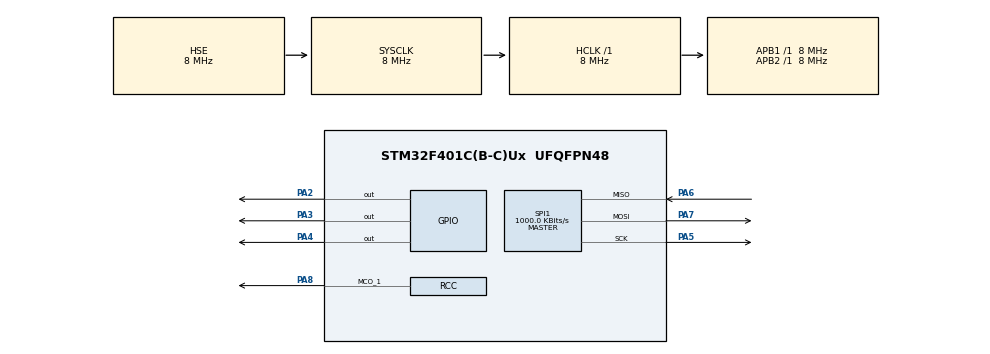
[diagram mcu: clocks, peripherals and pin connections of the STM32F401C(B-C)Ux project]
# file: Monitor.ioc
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Mcu.Family=STM32F4
Mcu.Name=STM32F401C(B-C)Ux
Mcu.Package=UFQFPN48
NVIC.PriorityGroup=NVIC_PRIORITYGROUP_4
PA13.Mode=Serial_Wire
PA13.Signal=SYS_JTMS-SWDIO
PA14.Mode=Serial_Wire
PA14.Signal=SYS_JTCK-SWCLK
PA2.Signal=GPIO_Output
PA3.Signal=GPIO_Output
PA4.Signal=GPIO_Output
PA5.Mode=Full_Duplex_Master
PA5.Signal=SPI1_SCK
PA6.Mode=Full_Duplex_Master
PA6.Signal=SPI1_MISO
PA7.Mode=Full_Duplex_Master
PA7.Signal=SPI1_MOSI
PA8.Mode=Clock-out-1
PA8.Signal=RCC_MCO_1
PH0\ -\ OSC_IN.Mode=HSE-External-Oscillator
PH0\ -\ OSC_IN.Signal=RCC_OSC_IN
PH1\ -\ OSC_OUT.Mode=HSE-External-Oscillator
PH1\ -\ OSC_OUT.Signal=RCC_OSC_OUT
ProjectManager.HeapSize=0x200
ProjectManager.StackSize=0x400
ProjectManager.TargetToolchain=Makefile
RCC.48MHZClocksFreq_Value=48000000
RCC.AHBFreq_Value=8000000
RCC.APB1Freq_Value=8000000
RCC.APB1TimCLKDivider=1
RCC.APB1TimFreq_Value=8000000
RCC.APB2Freq_Value=8000000
RCC.APB2TimFreq_Value=8000000
RCC.CortexFreq_Value=8000000
RCC.HCLKFreq_Value=8000000
RCC.HSE_VALUE=8000000
RCC.HSI_VALUE=16000000
RCC.LSE_VALUE=32768
RCC.SYSCLKFreq_VALUE=8000000
RCC.SYSCLKSource=RCC_SYSCLKSOURCE_HSE
RCC.VCOOutputFreq_Value=192000000
SPI1.BaudRatePrescaler=SPI_BAUDRATEPRESCALER_8
SPI1.CalculateBaudRate=1000.0 KBits/s
SPI1.Direction=SPI_DIRECTION_2LINES
SPI1.Mode=SPI_MODE_MASTER
SPI1.VirtualType=VM_MASTER
board=custom

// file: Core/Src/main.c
/* USER CODE BEGIN Header */
/**
  ******************************************************************************
  * @file           : main.c
  * @brief          : Main program body
  ******************************************************************************
  * @attention
  *
  * Copyright (c) 2025 STMicroelectronics.
  * All rights reserved.
  *
  * This software is licensed under terms that can be found in the LICENSE file
  * in the root directory of this software component.
  * If no LICENSE file comes with this software, it is provided AS-IS.
  *
  ******************************************************************************
  */
/* USER CODE END Header */
#include "main.h"
#include "spi.h"
#include "gpio.h"
#include <stdio.h>
#include <string.h>

/* USER CODE BEGIN PD */
#define RST_PIN GPIO_PIN_2
#define DC_PIN GPIO_PIN_3
#define CS_PIN GPIO_PIN_4
#define RST_PORT GPIOA
#define DC_PORT GPIOA
#define CS_PORT GPIOA

// Команды для SSD1309
#define SSD1309_SETCONTRAST 0x81
#define SSD1309_DISPLAYALLON_RESUME 0xA4
#define SSD1309_DISPLAYON 0xAF
#define SSD1309_DISPLAYOFF 0xAE
#define SSD1309_NORMALDISPLAY 0xA6
#define SSD1309_SETSTARTLINE 0x40
#define SSD1309_MEMORYMODE 0x20
#define SSD1309_COLUMNADDR 0x21
#define SSD1309_PAGEADDR 0x22
#define SSD1309_SEGREMAP 0xA0  // Нормальная ориентация
#define SSD1309_COMSCANINC 0xC0  // Нормальная ориентация
#define SSD1309_SETCOMPINS 0xDA
#define SSD1309_SETVCOMDETECT 0xDB
#define SSD1309_SETMULTIPLEX 0xA8
#define SSD1309_SETDISPLAYOFFSET 0xD3
#define SSD1309_SETDISPLAYCLOCKDIV 0xD5
#define SSD1309_SETPRECHARGE 0xD9
/* USER CODE END PD */

/* USER CODE BEGIN PV */
// Массив шрифта
const unsigned char font_regular[94][6] =
{
    {0x00, 0x60, 0x60, 0x60, 0x00, 0x00},   // sp
    {0x00, 0x00, 0x00, 0x2f, 0x00, 0x00},   // !
    {0x00, 0x00, 0x07, 0x00, 0x07, 0x00},   // "
    {0x00, 0x14, 0x7f, 0x14, 0x7f, 0x14},   // #
    {0x00, 0x24, 0x2a, 0x7f, 0x2a, 0x12},   // $
    {0x00, 0x62, 0x64, 0x08, 0x13, 0x23},   // %
    {0x00, 0x36, 0x49, 0x55, 0x22, 0x50},   // &
    {0x00, 0x00, 0x05, 0x03, 0x00, 0x00},   // '
    {0x00, 0x00, 0x1c, 0x22, 0x41, 0x00},   // (
    {0x00, 0x00, 0x41, 0x22, 0x1c, 0x00},   // )
    {0x00, 0x14, 0x08, 0x3E, 0x08, 0x14},   // *
    {0x00, 0x08, 0x08, 0x3E, 0x08, 0x08},   // +
    {0x00, 0x00, 0x00, 0xA0, 0x60, 0x00},   // ,
    {0x00, 0x08, 0x08, 0x08, 0x08, 0x08},   // -
    {0x00, 0x00, 0x60, 0x60, 0x00, 0x00},   // .
    {0x00, 0x20, 0x10, 0x08, 0x04, 0x02},   // /
    {0x00, 0x3E, 0x51, 0x49, 0x45, 0x3E},   // 0
    {0x00, 0x00, 0x42, 0x7F, 0x40, 0x00},   // 1
    {0x00, 0x42, 0x61, 0x51, 0x49, 0x46},   // 2
    {0x00, 0x21, 0x41, 0x45, 0x4B, 0x31},   // 3
    {0x00, 0x18, 0x14, 0x12, 0x7F, 0x10},   // 4
    {0x00, 0x27, 0x45, 0x45, 0x45, 0x39},   // 5
    {0x00, 0x3C, 0x4A, 0x49, 0x49, 0x30},   // 6
    {0x00, 0x01, 0x71, 0x09, 0x05, 0x03},   // 7
    {0x00, 0x36, 0x49, 0x49, 0x49, 0x36},   // 8
    {0x00, 0x06, 0x49, 0x49, 0x29, 0x1E},   // 9
    {0x00, 0x00, 0x36, 0x36, 0x00, 0x00},   // :
    {0x00, 0x00, 0x56, 0x36, 0x00, 0x00},   // ;
    {0x00, 0x08, 0x14, 0x22, 0x41, 0x00},   // <
    {0x00, 0x14, 0x14, 0x14, 0x14, 0x14},   // =
    {0x00, 0x00, 0x41, 0x22, 0x14, 0x08},   // >
    {0x00, 0x02, 0x01, 0x51, 0x09, 0x06},   // ?
    {0x00, 0x32, 0x49, 0x59, 0x51, 0x3E},   // @
    {0x00, 0x7C, 0x12, 0x11, 0x12, 0x7C},   // A
    {0x00, 0x7F, 0x49, 0x49, 0x49, 0x36},   // B
    {0x00, 0x3E, 0x41, 0x41, 0x41, 0x22},   // C
    {0x00, 0x7F, 0x41, 0x41, 0x22, 0x1C},   // D
    {0x00, 0x7F, 0x49, 0x49, 0x49, 0x41},   // E
    {0x00, 0x7F, 0x09, 0x09, 0x09, 0x01},   // F
    {0x00, 0x3E, 0x41, 0x49, 0x49, 0x7A},   // G
    {0x00, 0x7F, 0x08, 0x08, 0x08, 0x7F},   // H
    {0x00, 0x00, 0x41, 0x7F, 0x41, 0x00},   // I
    {0x00, 0x20, 0x40, 0x41, 0x3F, 0x01},   // J
    {0x00, 0x7F, 0x08, 0x14, 0x22, 0x41},   // K
    {0x00, 0x7F, 0x40, 0x40, 0x40, 0x40},   // L
    {0x00, 0x7F, 0x02, 0x0C, 0x02, 0x7F},   // M
    {0x00, 0x7F, 0x04, 0x08, 0x10, 0x7F},   // N
    {0x00, 0x3E, 0x41, 0x41, 0x41, 0x3E},   // O
    {0x00, 0x7F, 0x09, 0x09, 0x09, 0x06},   // P
    {0x00, 0x3E, 0x41, 0x51, 0x21, 0x5E},   // Q
    {0x00, 0x7F, 0x09, 0x19, 0x29, 0x46},   // R
    {0x00, 0x46, 0x49, 0x49, 0x49, 0x31},   // S
    {0x00, 0x01, 0x01, 0x7F, 0x01, 0x01},   // T
    {0x00, 0x3F, 0x40, 0x40, 0x40, 0x3F},   // U
    {0x00, 0x1F, 0x20, 0x40, 0x20, 0x1F},   // V
    {0x00, 0x3F, 0x40, 0x38, 0x40, 0x3F},   // W
    {0x00, 0x63, 0x14, 0x08, 0x14, 0x63},   // X
    {0x00, 0x07, 0x08, 0x70, 0x08, 0x07},   // Y
    {0x00, 0x61, 0x51, 0x49, 0x45, 0x43},   // Z
    {0x00, 0x00, 0x7F, 0x41, 0x41, 0x00},   // [
    {0x00, 0x02, 0x04, 0x08, 0x10, 0x20},   // \
    {0x00, 0x00, 0x06, 0x09, 0x09, 0x06},   // ]
    {0x00, 0x00, 0x06, 0x09, 0x09, 0x06},   // ^ Градус )
    {0x00, 0x40, 0x40, 0x40, 0x40, 0x40},   // _
    {0x00, 0x00, 0x01, 0x02, 0x04, 0x00},   // '
    {0x00, 0x20, 0x54, 0x54, 0x54, 0x78},   // a
    {0x00, 0x7F, 0x48, 0x44, 0x44, 0x38},   // b
    {0x00, 0x38, 0x44, 0x44, 0x44, 0x20},   // c
    {0x00, 0x38, 0x44, 0x44, 0x48, 0x7F},   // d
    {0x00, 0x38, 0x54, 0x54, 0x54, 0x18},   // e
    {0x00, 0x08, 0x7E, 0x09, 0x01, 0x02},   // f
    {0x00, 0x18, 0xA4, 0xA4, 0xA4, 0x7C},   // g
    {0x00, 0x7F, 0x08, 0x04, 0x04, 0x78},   // h
    {0x00, 0x00, 0x44, 0x7D, 0x40, 0x00},   // i
    {0x00, 0x40, 0x80, 0x84, 0x7D, 0x00},   // j
    {0x00, 0x7F, 0x10, 0x28, 0x44, 0x00},   // k
    {0x00, 0x00, 0x41, 0x7F, 0x40, 0x00},   // l
    {0x00, 0x7C, 0x04, 0x18, 0x04, 0x78},   // m
    {0x00, 0x7C, 0x08, 0x04, 0x04, 0x78},   // n
    {0x00, 0x38, 0x44, 0x44, 0x44, 0x38},   // o
    {0x00, 0xFC, 0x24, 0x24, 0x24, 0x18},   // p
    {0x00, 0x18, 0x24, 0x24, 0x18, 0xFC},   // q
    {0x00, 0x7C, 0x08, 0x04, 0x04, 0x08},   // r
    {0x00, 0x48, 0x54, 0x54, 0x54, 0x20},   // s
    {0x00, 0x04, 0x3F, 0x44, 0x40, 0x20},   // t
    {0x00, 0x3C, 0x40, 0x40, 0x20, 0x7C},   // u
    {0x00, 0x1C, 0x20, 0x40, 0x20, 0x1C},   // v
    {0x00, 0x3C, 0x40, 0x30, 0x40, 0x3C},   // w
    {0x00, 0x44, 0x28, 0x10, 0x28, 0x44},   // x
    {0x00, 0x1C, 0xA0, 0xA0, 0xA0, 0x7C},   // y
    {0x00, 0x44, 0x64, 0x54, 0x4C, 0x44},   // z
};

/* USER CODE END PV */

void SystemClock_Config(void);
/* USER CODE BEGIN PFP */
void SSD1309_Reset(void);                     // Сброс дисплея
void SSD1309_WriteCommand(uint8_t command);   // Отправка команды
void SSD1309_WriteData(uint8_t data);         // Отправка данных
void SSD1309_Init(void);                      // Инициализация дисплея
void SSD1309_SetPosition(uint8_t x, uint8_t y); // Установка позиции (столбец, страница)
void SSD1309_Clear(void);                     // Очистка экрана
void SSD1309_DrawChar(uint8_t x, uint8_t y, char character); // Отрисовка символа
void SSD1309_DrawString(uint8_t x, uint8_t y, const char *str); // Отрисовка строки
void SSD1309_DisplayTemperature(int temp); // Отображение температуры
void SSD1309_DrawBigChar(uint8_t x, uint8_t y, uint8_t index); // Большие символы
void SSD1309_DrawBigPoint(uint8_t x, uint8_t y); // Рисуем точку
void SSD1309_DrawBigString(uint8_t x, uint8_t y, const char *str); // Строка Больших симовлов
/* USER CODE END PFP */

int main(void)
{

  /* MCU Configuration--------------------------------------------------------*/

  /* Reset of all peripherals, Initializes the Flash interface and the Systick. */
  HAL_Init();

  /* Configure the system clock */
  SystemClock_Config();

  /* Initialize all configured peripherals */
  MX_GPIO_Init();
  MX_SPI1_Init();
  /* USER CODE BEGIN 2 */
  // Инициализация дисплея
  SSD1309_Init();

  // Очистка экрана
  SSD1309_Clear();

  int temperature = 366; // 36.6 градуса

  while (1)
  {
    SSD1309_DisplayTemperature(temperature); // Отображение температуры
    HAL_Delay(100); // Задержка 100 мс
  }
  /* USER CODE END 2 */

  /* Infinite loop */
  while (1)
  {

  }
}

void SystemClock_Config(void)
{
  RCC_OscInitTypeDef RCC_OscInitStruct = {0};
  RCC_ClkInitTypeDef RCC_ClkInitStruct = {0};

  /** Configure the main internal regulator output voltage
  */
  __HAL_RCC_PWR_CLK_ENABLE();
  __HAL_PWR_VOLTAGESCALING_CONFIG(PWR_REGULATOR_VOLTAGE_SCALE2);

  /** Initializes the RCC Oscillators according to the specified parameters
  * in the RCC_OscInitTypeDef structure.
  */
  RCC_OscInitStruct.OscillatorType = RCC_OSCILLATORTYPE_HSI|RCC_OSCILLATORTYPE_HSE;
  RCC_OscInitStruct.HSEState = RCC_HSE_ON;
  RCC_OscInitStruct.HSIState = RCC_HSI_ON;
  RCC_OscInitStruct.HSICalibrationValue = RCC_HSICALIBRATION_DEFAULT;
  RCC_OscInitStruct.PLL.PLLState = RCC_PLL_NONE;
  if (HAL_RCC_OscConfig(&RCC_OscInitStruct) != HAL_OK)
  {
    Error_Handler();
  }

  /** Initializes the CPU, AHB and APB buses clocks
  */
  RCC_ClkInitStruct.ClockType = RCC_CLOCKTYPE_HCLK|RCC_CLOCKTYPE_SYSCLK
                              |RCC_CLOCKTYPE_PCLK1|RCC_CLOCKTYPE_PCLK2;
  RCC_ClkInitStruct.SYSCLKSource = RCC_SYSCLKSOURCE_HSE;
  RCC_ClkInitStruct.AHBCLKDivider = RCC_SYSCLK_DIV1;
  RCC_ClkInitStruct.APB1CLKDivider = RCC_HCLK_DIV1;
  RCC_ClkInitStruct.APB2CLKDivider = RCC_HCLK_DIV1;

  if (HAL_RCC_ClockConfig(&RCC_ClkInitStruct, FLASH_LATENCY_0) != HAL_OK)
  {
    Error_Handler();
  }
  HAL_RCC_MCOConfig(RCC_MCO1, RCC_MCO1SOURCE_HSI, RCC_MCODIV_1);
}

/* USER CODE BEGIN 4 */

// Сброс дисплея
void SSD1309_Reset(void) {
  HAL_GPIO_WritePin(RST_PORT, RST_PIN, GPIO_PIN_RESET);
  HAL_Delay(100); // Задержка 100 мс для надёжного сброса
  HAL_GPIO_WritePin(RST_PORT, RST_PIN, GPIO_PIN_SET);
}

// Отправка команды на дисплей
void SSD1309_WriteCommand(uint8_t command) {
  HAL_GPIO_WritePin(DC_PORT, DC_PIN, GPIO_PIN_RESET); // DC = 0 для команд
  HAL_GPIO_WritePin(CS_PORT, CS_PIN, GPIO_PIN_RESET); // CS = 0 для выбора чипа
  HAL_SPI_Transmit(&hspi1, &command, 1, HAL_MAX_DELAY);
  HAL_GPIO_WritePin(CS_PORT, CS_PIN, GPIO_PIN_SET);   // CS = 1 после передачи
}

// Отправка данных на дисплей
void SSD1309_WriteData(uint8_t data) {
  HAL_GPIO_WritePin(DC_PORT, DC_PIN, GPIO_PIN_SET);   // DC = 1 для данных
  HAL_GPIO_WritePin(CS_PORT, CS_PIN, GPIO_PIN_RESET); // CS = 0 для выбора чипа
  HAL_SPI_Transmit(&hspi1, &data, 1, HAL_MAX_DELAY);
  HAL_GPIO_WritePin(CS_PORT, CS_PIN, GPIO_PIN_SET);   // CS = 1 после передачи
}

// Инициализация дисплея SSD1309
void SSD1309_Init(void) {
  SSD1309_Reset(); // Сброс дисплея

  SSD1309_WriteCommand(SSD1309_DISPLAYOFF);           // Выключить дисплей
  SSD1309_WriteCommand(SSD1309_SETDISPLAYCLOCKDIV);   // Частота обновления
  SSD1309_WriteCommand(0x80);                         // Значение по умолчанию
  SSD1309_WriteCommand(SSD1309_SETMULTIPLEX);         // Установить мультиплексор
  SSD1309_WriteCommand(0x3F);                         // 64 строки (0-63)
  SSD1309_WriteCommand(SSD1309_SETDISPLAYOFFSET);     // Смещение дисплея
  SSD1309_WriteCommand(0x00);                         // Без смещения
  SSD1309_WriteCommand(SSD1309_SETSTARTLINE | 0x00);  // Начальная строка
  SSD1309_WriteCommand(0x8D);                         // Включение charge pump
  SSD1309_WriteCommand(0x14);                         // Включить
  SSD1309_WriteCommand(SSD1309_MEMORYMODE);           // Режим памяти
  SSD1309_WriteCommand(0x00);                         // Горизонтальная адресация
  SSD1309_WriteCommand(SSD1309_SEGREMAP);             // Сегменты отображаются в обратном порядке
  SSD1309_WriteCommand(SSD1309_COMSCANINC);           // Сканирование сверху вниз
  SSD1309_WriteCommand(SSD1309_SETCOMPINS);           // Настройка COM пинов
  SSD1309_WriteCommand(0x12);                         // Значение по умолчанию
  SSD1309_WriteCommand(SSD1309_SETCONTRAST);          // Контрастность
  SSD1309_WriteCommand(0xCF);                         // Установить контраст
  SSD1309_WriteCommand(SSD1309_SETPRECHARGE);         // Предзарядка
  SSD1309_WriteCommand(0xF1);                         // Значение по умолчанию
  SSD1309_WriteCommand(SSD1309_SETVCOMDETECT);        // Уровень VCOM
  SSD1309_WriteCommand(0x40);                         // Значение по умолчанию
  SSD1309_WriteCommand(SSD1309_DISPLAYALLON_RESUME);  // Нормальный режим
  SSD1309_WriteCommand(SSD1309_NORMALDISPLAY);        // Нормальное отображение
  SSD1309_WriteCommand(SSD1309_DISPLAYON);            // Включить дисплей
}

// Установка позиции для записи (x — столбец, y — страница)
void SSD1309_SetPosition(uint8_t x, uint8_t y) {
  SSD1309_WriteCommand(SSD1309_COLUMNADDR); // Установить диапазон столбцов
  SSD1309_WriteCommand(x);                  // Начальный столбец
  SSD1309_WriteCommand(127);                // Конечный столбец (127 — максимум)
  SSD1309_WriteCommand(SSD1309_PAGEADDR);   // Установить диапазон страниц
  SSD1309_WriteCommand(y);                  // Начальная страница
  SSD1309_WriteCommand(7);                  // Конечная страница (7 — максимум)
}

// Очистка экрана (заполнение нулями)
void SSD1309_Clear(void) {
  SSD1309_SetPosition(0, 0); // Начало с (0, 0)
  for (uint16_t i = 0; i < 128 * 8; i++) { // 128 столбцов * 8 страниц
      SSD1309_WriteData(0x00); // Заполнить нули
  }
}

// Отрисовка одного символа
void SSD1309_DrawChar(uint8_t x, uint8_t y, char character) {
  uint8_t index;
  if (character >= ' ' && character <= '~') {
      index = character - ' ';
  } else {
      return; // Недопустимый символ
  }
  for (uint8_t col = 0; col < 6; col++) {
      uint8_t data = font_regular[index][col];
      SSD1309_SetPosition(x + col, y);
      SSD1309_WriteData(data);
  }
}

// Отрисовка строки
void SSD1309_DrawString(uint8_t x, uint8_t y, const char *str) {
  while (*str) {
      SSD1309_DrawChar(x, y, *str);
      x += 6; // Сдвигаемся на следующий символ (ширина символа = 6 пикселей)
      str++;
  }
}

void SSD1309_DisplayTemperature(int temp) {
    static int last_temp = -1000; // Храним предыдущее значение температуры
  char buffer[10];

    // Если температура не изменилась, не обновляем экран
    if (temp == last_temp) {
        return;
    }
    last_temp = temp;

    // Очищаем только область с температурой
    for (uint8_t page = 0; page < 3; page++) {
        SSD1309_SetPosition(0, page);
        for (uint8_t i = 0; i < 128; i++) {
            SSD1309_WriteData(0x00);
        }
    }

  if (temp < 0) {
      SSD1309_DrawChar(0, 2, '-'); // Отрисовка минуса
      temp = -temp; // Преобразуем температуру в положительное число
  }

    // Форматируем строку с одним знаком после запятой
    sprintf(buffer, "%d.%d", temp / 10, temp % 10);

  // Отображение температуры обычным шрифтом
    SSD1309_DrawString(0, 0, "ZNP"); // Выводим слово "ZNP"
  SSD1309_DrawString(0, 2, buffer); // Выводим значение температуры
  SSD1309_DrawChar(6 * strlen(buffer), 2, 93); // Символ градуса
  SSD1309_DrawChar(6 * strlen(buffer) + 6, 2, 'C'); // Символ 'C'

    // Отображение температуры большим шрифтом
    SSD1309_DrawBigString(40, 2, buffer); // Выводим то же значение большими цифрами
}

void SSD1309_DrawBigChar(uint8_t x, uint8_t y, uint8_t index) {
    const uint8_t segments[11][7] = {
        {1,1,1,1,1,1,0}, // 0
        {0,1,1,0,0,0,0}, // 1
        {1,1,0,1,1,0,1}, // 2
        {1,1,1,1,0,0,1}, // 3
        {0,1,1,0,0,1,1}, // 4
        {1,0,1,1,0,1,1}, // 5
        {1,0,1,1,1,1,1}, // 6
        {1,1,1,0,0,0,0}, // 7
        {1,1,1,1,1,1,1}, // 8
        {1,1,1,1,0,1,1}, // 9
        {1,0,0,1,1,1,0}  // C
    };

    // Очищаем область перед отрисовкой
    for(uint8_t page = y; page < y + 6; page++) {
        SSD1309_SetPosition(x, page);
        for(uint8_t i = 0; i < 20; i++) {
            SSD1309_WriteData(0x00);
        }
    }
    HAL_Delay(100); // Задержка после очистки

    // Рисуем горизонтальные сегменты (a, g, d)
    if(segments[index][0]) { // Сегмент a (верх)
        SSD1309_SetPosition(x + 3, y);
        for(uint8_t j = 0; j < 14; j++) {
            SSD1309_WriteData(0xFF);
        }
        HAL_Delay(50); // Задержка после отрисовки верхнего сегмента
    }

    if(segments[index][6]) { // Сегмент g (середина)
        SSD1309_SetPosition(x + 3, y + 2);
        for(uint8_t j = 0; j < 14; j++) {
            SSD1309_WriteData(0xFF);
        }
        HAL_Delay(50); // Задержка после отрисовки среднего сегмента
    }

    if(segments[index][3]) { // Сегмент d (низ)
        SSD1309_SetPosition(x + 3, y + 4);
        for(uint8_t j = 0; j < 14; j++) {
            SSD1309_WriteData(0xFF);
        }
        HAL_Delay(50); // Задержка после отрисовки нижнего сегмента
    }

    // Рисуем вертикальные сегменты (f, b, e, c)
    if(segments[index][5]) { // Сегмент f (лево верх)
        for(uint8_t i = 0; i < 3; i++) {
            SSD1309_SetPosition(x, y + i);
            SSD1309_WriteData(0xFF);
            SSD1309_WriteData(0xFF);
        }
        HAL_Delay(50); // Задержка после отрисовки левого верхнего сегмента
    }

    if(segments[index][1]) { // Сегмент b (право верх)
        for(uint8_t i = 0; i < 3; i++) {
            SSD1309_SetPosition(x + 17, y + i);
            SSD1309_WriteData(0xFF);
            SSD1309_WriteData(0xFF);
        }
        HAL_Delay(50); // Задержка после отрисовки правого верхнего сегмента
    }

    if(segments[index][4]) { // Сегмент e (лево низ)
        for(uint8_t i = 2; i < 5; i++) {
            SSD1309_SetPosition(x, y + i);
            SSD1309_WriteData(0xFF);
            SSD1309_WriteData(0xFF);
        }
        HAL_Delay(50); // Задержка после отрисовки левого нижнего сегмента
    }

    if(segments[index][2]) { // Сегмент c (право низ)
        for(uint8_t i = 2; i < 5; i++) {
            SSD1309_SetPosition(x + 17, y + i);
            SSD1309_WriteData(0xFF);
            SSD1309_WriteData(0xFF);
        }
        HAL_Delay(50); // Задержка после отрисовки правого нижнего сегмента
    }
}

void SSD1309_DrawBigPoint(uint8_t x, uint8_t y) {
    // Рисуем точку размером 2x2 пикселя
    SSD1309_SetPosition(x, y + 4);
    SSD1309_WriteData(0xC0);
    SSD1309_WriteData(0xC0);
}

void SSD1309_DrawBigString(uint8_t x, uint8_t y, const char *str) {
    while (*str) {
        uint8_t index;
        if (*str >= '0' && *str <= '9') {
            index = *str - '0';
            SSD1309_DrawBigChar(x, y, index);
            x += 23; // Ширина символа 20 пикселей + 3 пикселя пробела
        } else if (*str == '.') {
            SSD1309_DrawBigPoint(x - 3, y); // Рисуем точку с учетом пробела
            x += 3; // Добавляем пробел после точки
        }
        str++;
    }
}

/* USER CODE END 4 */

void Error_Handler(void)
{
  __disable_irq();
  while (1)
  {
  }
}
